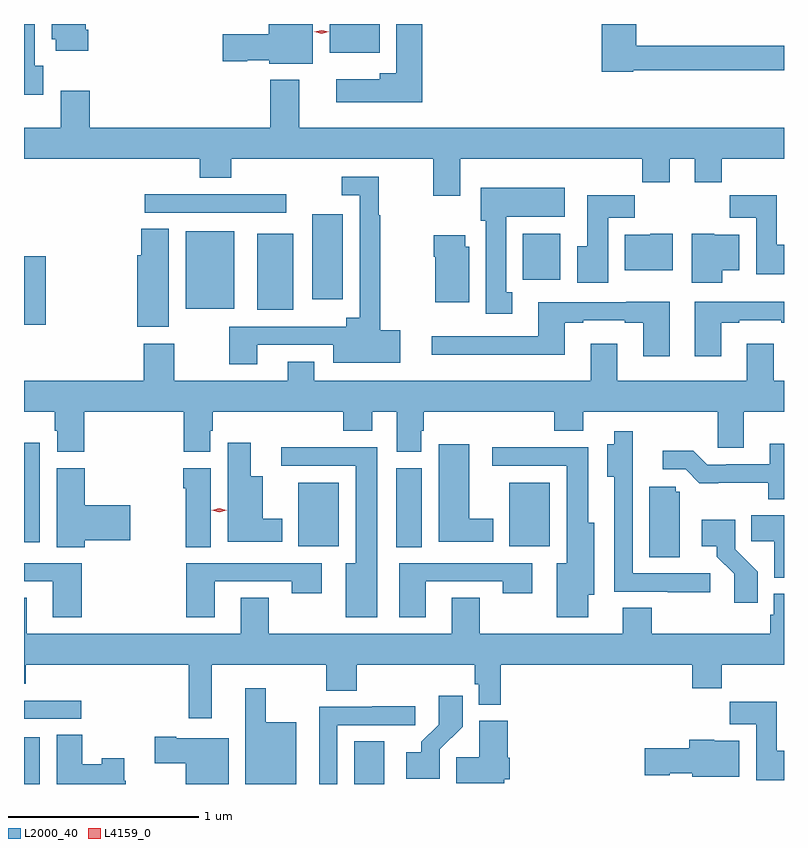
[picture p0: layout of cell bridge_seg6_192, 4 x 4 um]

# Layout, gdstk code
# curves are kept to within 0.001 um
import gdstk
lib = gdstk.Library(unit=1e-6, precision=1e-09)
def R(c, l, rs):  # rectangles x0, y0, x1, y1
    for r in rs: c.add(gdstk.rectangle(r[:2], r[2:], *l))
def P(c, l, *ps):  # polygons
    for p in ps: c.add(gdstk.Polygon(p, *l))
L2000_40 = (2000, 40)
L4159_0 = (4159, 0)

bridge_seg6_192 = lib.new_cell('bridge_seg6_192')
R(bridge_seg6_192, L2000_40, [(143.644,968.021,143.728,968.266), (145.382,968.021,145.54,968.245), (143.644,968.364,143.944,968.46), (145.604,969.268,145.738,969.684), (145.088,969.272,145.3,969.607), (146.198,969.272,146.41,969.607), (143.644,969.293,143.728,969.817), (143.644,970.438,143.759,970.798), (144.872,970.517,145.06,970.918), (144.494,970.523,144.751,970.93), (145.16,970.572,145.321,971.02), (146.27,970.676,146.467,970.918), (144.279,971.028,145.024,971.124), (145.253,971.87,145.516,972.021)])
P(bridge_seg6_192, L2000_40, [(143.746,971.802),(143.701,971.802),(143.701,972.021),(143.644,972.021),(143.644,971.648),(143.746,971.648)],
  [(143.981,971.992),(143.968,971.992),(143.968,972.021),(143.789,972.021),(143.789,971.94),(143.81,971.94),(143.81,971.88),(143.981,971.88)],
  [(145.739,972.021),(145.604,972.021),(145.604,971.761),(145.517,971.761),(145.517,971.731),(145.287,971.731),(145.287,971.609),(145.739,971.609)],
  [(145.165,972.021),(144.932,972.021),(144.932,971.966),(144.69,971.966),(144.69,971.824),(144.819,971.824),(144.819,971.831),(144.936,971.831),(144.936,971.813),(145.165,971.813)],
  [(146.85,971.778),(147.644,971.778),(147.644,971.906),(146.867,971.906),(146.867,972.021),(146.684,972.021),(146.684,971.77),(146.85,971.77)],
  [(145.939,971.312),(146.899,971.312),(146.899,971.188),(147.043,971.188),(147.043,971.312),(147.173,971.312),(147.173,971.188),(147.317,971.188),(147.317,971.312),(147.644,971.312),(147.644,971.476),(145.093,971.476),(145.093,971.728),(144.941,971.728),(144.941,971.476),(143.99,971.476),(143.99,971.671),(143.837,971.671),(143.837,971.476),(143.644,971.476),(143.644,971.312),(144.569,971.312),(144.569,971.213),(144.734,971.213),(144.734,971.312),(145.799,971.312),(145.799,971.118),(145.939,971.118)],
  [(144.871,970.332),(145.271,970.332),(145.271,970.238),(145.624,970.238),(145.624,970.409),(145.519,970.409),(145.519,971.014),(145.511,971.014),(145.511,971.217),(145.317,971.217),(145.317,971.121),(145.41,971.121),(145.41,970.474),(145.34,970.474),(145.34,970.428),(144.724,970.428),(144.724,970.23),(144.871,970.23)],
  [(146.215,970.61),(146.182,970.61),(146.182,971.006),(146.491,971.006),(146.491,971.158),(146.048,971.158),(146.048,970.986),(146.075,970.986),(146.075,970.497),(146.215,970.497)],
  [(147.644,970.86),(147.607,970.86),(147.607,971.119),(147.358,971.119),(147.358,971),(147.497,971),(147.497,970.704),(147.644,970.704)],
  [(146.719,971),(146.858,971),(146.858,971.119),(146.609,971.119),(146.609,970.852),(146.555,970.852),(146.555,970.659),(146.719,970.659)],
  [(144.406,970.943),(144.26,970.943),(144.26,970.803),(144.239,970.803),(144.239,970.427),(144.406,970.427)],
  [(147.319,970.724),(147.409,970.724),(147.409,970.912),(147.276,970.912),(147.276,970.918),(147.158,970.918),(147.158,970.659),(147.319,970.659)],
  [(147.058,970.918),(146.94,970.918),(146.94,970.912),(146.807,970.912),(146.807,970.724),(147.058,970.724)],
  [(145.987,970.848),(145.966,970.848),(145.966,970.909),(145.801,970.909),(145.801,970.796),(145.808,970.796),(145.808,970.556),(145.987,970.556)],
  [(147.313,970.449),(147.409,970.449),(147.409,970.461),(147.629,970.461),(147.629,970.449),(147.644,970.449),(147.644,970.558),(147.173,970.558),(147.173,970.272),(147.313,970.272)],
  [(147.043,970.558),(146.815,970.558),(146.815,970.557),(146.351,970.557),(146.351,970.377),(145.791,970.377),(145.791,970.28),(146.491,970.28),(146.491,970.449),(146.587,970.449),(146.587,970.461),(146.807,970.461),(146.807,970.449),(146.903,970.449),(146.903,970.272),(147.043,970.272)],
  [(143.96,969.98),(144.485,969.98),(144.485,969.769),(144.625,969.769),(144.625,969.879),(144.638,969.879),(144.638,969.98),(145.325,969.98),(145.325,969.881),(145.477,969.881),(145.477,969.98),(145.607,969.98),(145.607,969.769),(145.735,969.769),(145.735,969.879),(145.748,969.879),(145.748,969.98),(146.435,969.98),(146.435,969.881),(146.587,969.881),(146.587,969.98),(147.294,969.98),(147.294,969.79),(147.433,969.79),(147.433,969.98),(147.644,969.98),(147.644,970.144),(147.589,970.144),(147.589,970.339),(147.449,970.339),(147.449,970.144),(146.767,970.144),(146.767,970.339),(146.627,970.339),(146.627,970.144),(145.171,970.144),(145.171,970.243),(145.031,970.243),(145.031,970.144),(144.435,970.144),(144.435,970.339),(144.275,970.339),(144.275,970.144),(143.644,970.144),(143.644,969.98),(143.807,969.98),(143.807,969.879),(143.819,969.879),(143.819,969.769),(143.96,969.769)],
  [(147.256,969.129),(146.847,969.129),(146.847,969.654),(146.848,969.654),(146.848,969.877),(146.75,969.877),(146.75,969.808),(146.714,969.808),(146.714,969.638),(146.751,969.638),(146.751,969.033),(147.031,969.033),(147.031,969.031),(147.256,969.031)],
  [(145.003,969.418),(144.901,969.418),(144.901,969.64),(144.838,969.64),(144.838,969.817),(144.716,969.817),(144.716,969.296),(145.003,969.296)],
  [(147.644,969.811),(147.569,969.811),(147.569,969.705),(147.34,969.705),(147.34,969.702),(147.24,969.702),(147.167,969.775),(147.006,969.775),(147.006,969.678),(147.126,969.678),(147.199,969.605),(147.562,969.606),(147.562,969.521),(147.644,969.521)],
  [(146.113,969.418),(145.987,969.418),(145.987,969.808),(145.826,969.808),(145.826,969.296),(146.113,969.296)],
  [(145.504,969.794),(144.999,969.794),(144.999,969.696),(145.391,969.696),(145.391,969.184),(145.337,969.184),(145.337,968.898),(145.504,968.898)],
  [(146.614,969.017),(146.644,969.017),(146.644,969.397),(146.614,969.397),(146.614,969.794),(146.109,969.794),(146.109,969.696),(146.501,969.696),(146.501,969.184),(146.447,969.184),(146.447,968.898),(146.614,968.898)],
  [(143.963,969.305),(144.202,969.305),(144.202,969.488),(143.963,969.488),(143.963,969.684),(143.816,969.684),(143.816,969.268),(143.963,969.268)],
  [(144.628,969.684),(144.482,969.684),(144.482,969.578),(144.494,969.578),(144.494,969.268),(144.628,969.268)],
  [(147.094,969.558),(147.075,969.558),(147.075,969.585),(146.936,969.585),(146.936,969.214),(147.094,969.214)],
  [(147.644,969.436),(147.472,969.436),(147.472,969.298),(147.593,969.298),(147.593,969.107),(147.644,969.107)],
  [(147.506,969.138),(147.387,969.257),(147.387,969.412),(147.21,969.412),(147.21,969.272),(147.29,969.272),(147.29,969.217),(147.381,969.127),(147.381,968.976),(147.506,968.976)],
  [(144.649,969.087),(145.054,969.087),(145.054,969.024),(145.21,969.024),(145.21,969.183),(144.497,969.183),(144.497,968.898),(144.649,968.898)],
  [(145.759,969.087),(146.164,969.087),(146.164,969.024),(146.32,969.024),(146.32,969.183),(145.619,969.183),(145.619,968.898),(145.759,968.898)],
  [(143.948,969.183),(143.644,969.183),(143.644,969.087),(143.795,969.087),(143.795,968.898),(143.948,968.898)],
  [(144.631,968.648),(145.234,968.648),(145.234,968.512),(145.394,968.512),(145.394,968.648),(146.017,968.648),(146.017,968.547),(146.037,968.547),(146.037,968.438),(146.153,968.438),(146.153,968.648),(147.161,968.648),(147.161,968.524),(147.317,968.524),(147.317,968.648),(147.644,968.648),(147.644,969.022),(147.591,969.022),(147.591,968.913),(147.571,968.913),(147.571,968.812),(146.948,968.812),(146.948,968.948),(146.795,968.948),(146.795,968.812),(146.043,968.812),(146.043,969.002),(145.895,969.002),(145.895,968.812),(144.933,968.812),(144.933,969.002),(144.785,969.002),(144.785,968.812),(143.659,968.812),(143.659,969.002),(143.644,969.002),(143.644,968.549),(143.654,968.549),(143.654,968.648),(144.51,968.648),(144.51,968.367),(144.631,968.367)],
  [(145.078,968.347),(144.916,968.347),(144.916,968.524),(144.809,968.524),(144.809,968.021),(145.078,968.021)],
  [(145.833,968.203),(145.952,968.322),(145.952,968.485),(145.827,968.485),(145.827,968.333),(145.736,968.243),(145.736,968.188),(145.656,968.188),(145.656,968.048),(145.833,968.048)],
  [(147.644,968.196),(147.607,968.196),(147.607,968.454),(147.358,968.454),(147.358,968.336),(147.497,968.336),(147.497,968.04),(147.644,968.04)],
  [(145.293,968.331),(145.702,968.331),(145.702,968.43),(145.477,968.43),(145.477,968.427),(145.197,968.427),(145.197,968.021),(145.293,968.021)],
  [(146.172,968.046),(146.201,968.046),(146.201,968.16),(146.189,968.16),(146.189,968.353),(146.039,968.353),(146.039,968.162),(145.918,968.162),(145.918,968.024),(146.172,968.024)],
  [(144.18,968.039),(144.172,968.039),(144.172,968.156),(144.054,968.156),(144.054,968.125),(143.95,968.125),(143.95,968.279),(143.816,968.279),(143.816,968.021),(144.18,968.021)],
  [(144.721,968.263),(144.445,968.263),(144.445,968.271),(144.333,968.271),(144.333,968.129),(144.494,968.129),(144.494,968.021),(144.721,968.021)],
  [(147.409,968.248),(147.276,968.248),(147.276,968.254),(147.146,968.254),(147.146,968.208),(146.91,968.208),(146.91,968.066),(147.042,968.066),(147.042,968.078),(147.162,968.078),(147.162,968.06),(147.409,968.06)])
P(bridge_seg6_192, L4159_0, [(145.21,971.969),(145.171,971.979),(145.171,971.979),(145.171,971.979),(145.21,971.989),(145.248,971.979),(145.248,971.979),(145.248,971.979)],
  [(144.672,969.452),(144.632,969.462),(144.632,969.462),(144.632,969.462),(144.672,969.472),(144.712,969.462),(144.712,969.462),(144.712,969.462)])

lib.write_gds('bridge_seg6_192.gds')
